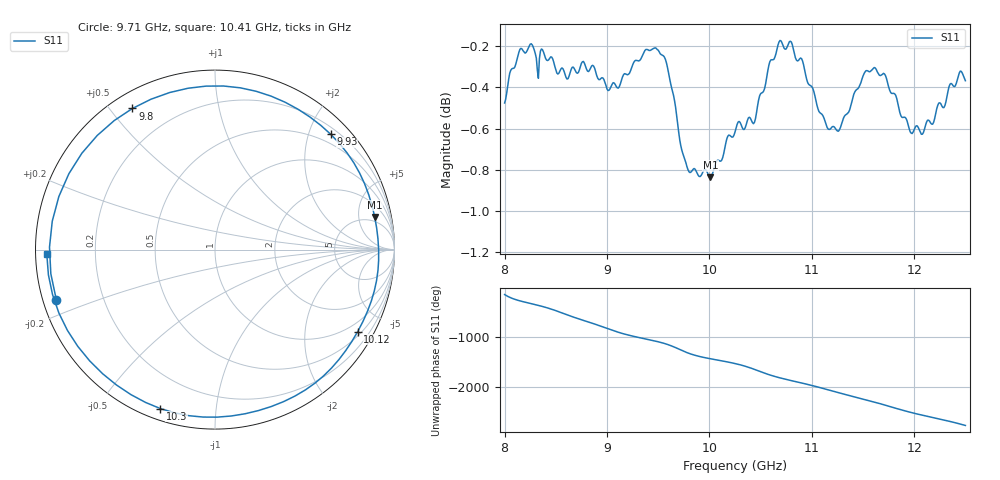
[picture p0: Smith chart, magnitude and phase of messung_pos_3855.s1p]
#  HZ  S  RI  R  50.00
! Rohde & Schwarz Vector Network Analyzer
! Rohde-Schwarz,ZNA43-4Port,1332450044101932,2.92
! Created: UTC 6/1/2026, 11:35:20 AM
! freq[Hz]  re:S11  im:S11
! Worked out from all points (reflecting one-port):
!   451 points, 8 GHz to 12.5 GHz, reference 50 ohm
!   lowest |S11| = -0.8 dB at 10.01 GHz (marker M1), VSWR 20.79, Z = 194 + j403 ohm
!   phase of S11 starts at -140 deg and turns -2626 deg over the sweep
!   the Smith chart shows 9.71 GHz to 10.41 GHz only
!   S11 on the Smith chart (normalised r, x): 9.71 GHz: 0.04, -0.16; 9.8 GHz: 0.06, +0.57; 9.93 GHz: 0.32, +2.38; 10.12 GHz: 0.64, -3.65; 10.3 GHz: 0.05, -0.71; 10.41 GHz: 0.03, -0.01
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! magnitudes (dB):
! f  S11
! 8 GHz  -0.5
! 8.16 GHz  -0.2
! 8.57 GHz  -0.3
! 8.77 GHz  -0.3
! 9.01 GHz  -0.4
! 9.13 GHz  -0.4
! 9.48 GHz  -0.2
! 9.58 GHz  -0.3
! 9.69 GHz  -0.6
! 9.71 GHz  -0.7
! 9.8 GHz  -0.8
! 9.93 GHz  -0.8
! 10.01 GHz  -0.8
! 10.12 GHz  -0.8
! 10.25 GHz  -0.6
! 10.3 GHz  -0.6
! 10.41 GHz  -0.6
! 10.68 GHz  -0.2
! 10.82 GHz  -0.2
! 11.16 GHz  -0.6
! 11.26 GHz  -0.6
! 11.38 GHz  -0.5
! 11.52 GHz  -0.3
! 11.61 GHz  -0.3
! 11.94 GHz  -0.6
! 12.08 GHz  -0.6
! 12.45 GHz  -0.3
! 12.5 GHz  -0.4
